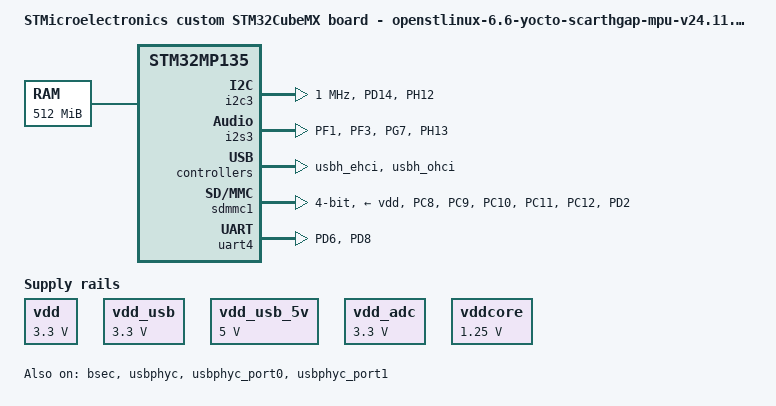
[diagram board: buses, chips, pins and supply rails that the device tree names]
// SPDX-License-Identifier: (GPL-2.0-or-later OR BSD-3-Clause)
/*
 * Copyright (C) 2026, STMicroelectronics - All Rights Reserved
 * Author: STM32CubeMX code generation for STMicroelectronics.
 */

/* For more information on Device Tree configuration, please refer to
 * https://wiki.st.com/stm32mpu/wiki/Category:Device_tree_configuration
 */

/dts-v1/;

#include <dt-bindings/pinctrl/stm32-pinfunc.h>
#include "stm32mp135.dtsi"
#include "stm32mp13xf.dtsi"

/* USER CODE BEGIN includes */
#include <dt-bindings/gpio/gpio.h>
#include <dt-bindings/input/input.h>
#include <dt-bindings/leds/common.h>
#include <dt-bindings/pwm/pwm.h>
#include <dt-bindings/rtc/rtc-stm32.h>
/* USER CODE END includes */

/ {
	model = "STMicroelectronics custom STM32CubeMX board - openstlinux-6.6-yocto-scarthgap-mpu-v24.11.06";
	compatible = "st,stm32mp135f-lty-mx", "st,stm32mp135";

	memory@c0000000 {
		device_type = "memory";
		reg = <0xc0000000 0x20000000>;

		/* USER CODE BEGIN memory */
		/* USER CODE END memory */
	};

	reserved-memory {
		#address-cells = <1>;
		#size-cells = <1>;
		ranges;

		/* USER CODE BEGIN reserved-memory */
		optee@de000000 {
			reg = <0xde000000 0x02000000>;
			no-map;
		};
		/* USER CODE END reserved-memory */
	};

	/* USER CODE BEGIN root */
	aliases {
		serial0 = &uart4;
		mmc0 = &sdmmc1;
	};

	chosen {
		stdout-path = "serial0:115200n8";
	};
	
	arm_wdt: watchdog {
		compatible = "arm,smc-wdt";
		arm,smc-id = <0xbc000000>;
		status = "disabled";
	};
	
	vdd: vdd {
		compatible = "regulator-fixed";
		regulator-name = "vdd";
		regulator-min-microvolt = <3300000>;
		regulator-max-microvolt = <3300000>;
		regulator-always-on;
	};

	vdd_usb: vdd_usb {
		compatible = "regulator-fixed";
		regulator-name = "vdd_usb";
		regulator-min-microvolt = <3300000>;
		regulator-max-microvolt = <3300000>;
		regulator-always-on;
	};

	vdd_usb_5v: vdd_usb_5v {
		compatible = "regulator-fixed";
		regulator-name = "vdd_usb_5v";
		regulator-min-microvolt = <5000000>;
		regulator-max-microvolt = <5000000>;
		regulator-always-on;
	};
	
	vdd_adc: vdd_adc {
		compatible = "regulator-fixed";
		regulator-name = "vdd_adc";
		regulator-min-microvolt = <3300000>;
		regulator-max-microvolt = <3300000>;
		regulator-always-on;
	};

	vddcore: vddcore {
		compatible = "regulator-fixed";
		regulator-name = "vddcore";
		regulator-min-microvolt = <1250000>;
		regulator-max-microvolt = <1250000>;
		regulator-always-on;
	};
	
    sound {
        compatible = "simple-audio-card";
        simple-audio-card,name = "pcm5102-audio";
        simple-audio-card,format = "i2s";

        simple-audio-card,cpu {
            sound-dai = <&i2s3>;
        };

        simple-audio-card,codec {
            sound-dai = <&pcm5102>;
        };
    };

    pcm5102: pcm5102 {
        compatible = "ti,pcm5102a";
        #sound-dai-cells = <0>;
    };
    
	/* USER CODE END root */

	clocks{

		/* USER CODE BEGIN clocks */
		/* USER CODE END clocks */
	};

}; /*root*/

&pinctrl {

	i2c3_pins_mx: i2c3_mx-0 {
		pins {
			pinmux = <STM32_PINMUX('D', 14, AF4)>, /* I2C3_SDA */
					 <STM32_PINMUX('H', 12, AF4)>; /* I2C3_SCL */
			bias-pull-up;
			drive-open-drain;
			slew-rate = <1>;
		};
	};

	i2c3_sleep_pins_mx: i2c3_sleep_mx-0 {
		pins {
			pinmux = <STM32_PINMUX('D', 14, ANALOG)>, /* I2C3_SDA */
					 <STM32_PINMUX('H', 12, ANALOG)>; /* I2C3_SCL */
		};
	};

	i2s3_pins_mx: i2s3_mx-0 {
		pins {
			pinmux = <STM32_PINMUX('F', 1, AF5)>, /* I2S3_SDO */
					 <STM32_PINMUX('F', 3, AF6)>, /* I2S3_WS */
					 <STM32_PINMUX('G', 7, AF5)>, /* I2S3_SDI */
					 <STM32_PINMUX('H', 13, AF6)>; /* I2S3_CK */
			bias-disable;
			drive-push-pull;
			slew-rate = <1>;
		};
	};

	i2s3_sleep_pins_mx: i2s3_sleep_mx-0 {
		pins {
			pinmux = <STM32_PINMUX('F', 1, ANALOG)>, /* I2S3_SDO */
					 <STM32_PINMUX('F', 3, ANALOG)>, /* I2S3_WS */
					 <STM32_PINMUX('G', 7, ANALOG)>, /* I2S3_SDI */
					 <STM32_PINMUX('H', 13, ANALOG)>; /* I2S3_CK */
		};
	};

	/* USER CODE BEGIN pinctrl */
	uart4_pins_mx: uart4_mx-0 {
			pins1 {
				pinmux = <STM32_PINMUX('D', 6, AF8)>; /* UART4_TX */
				bias-disable;
				drive-push-pull;
				slew-rate = <0>;
			};
			pins2 {
				pinmux = <STM32_PINMUX('D', 8, AF8)>; /* UART4_RX */
				bias-disable;
			};
		};
		
		uart4_idle_pins_mx: uart4_idle_mx-0 {
			pins1 {
				pinmux = <STM32_PINMUX('D', 6, AF8)>; /* UART4_TX */
				bias-disable;
				drive-push-pull;
				slew-rate = <0>;
			};
			pins2 {
				pinmux = <STM32_PINMUX('D', 8, AF8)>; /* UART4_RX */
				bias-disable;
			};
		};
		
		uart4_sleep_pins_mx: uart4_sleep_mx-0 {
			pins {
				pinmux = <STM32_PINMUX('D', 6, ANALOG)>, /* UART4_TX */
						 <STM32_PINMUX('D', 8, ANALOG)>; /* UART4_RX */
			};
		};
	
	sdmmc1_pins_mx: sdmmc1_mx-0 {
		pins {
			pinmux = <STM32_PINMUX('C', 8, AF12)>, /* SDMMC1_D0 */
					 <STM32_PINMUX('C', 9, AF12)>, /* SDMMC1_D1 */
					 <STM32_PINMUX('C', 10, AF12)>, /* SDMMC1_D2 */
					 <STM32_PINMUX('C', 11, AF12)>, /* SDMMC1_D3 */
					 <STM32_PINMUX('C', 12, AF12)>, /* SDMMC1_CK */
					 <STM32_PINMUX('D', 2, AF12)>; /* SDMMC1_CMD */
			bias-disable;
			drive-push-pull;
			slew-rate = <1>;
		};
	};
	
	sdmmc1_opendrain_pins_mx: sdmmc1_opendrain_mx-0 {
		pins1 {
			pinmux = <STM32_PINMUX('C', 8, AF12)>, /* SDMMC1_D0 */
					 <STM32_PINMUX('C', 9, AF12)>, /* SDMMC1_D1 */
					 <STM32_PINMUX('C', 10, AF12)>, /* SDMMC1_D2 */
					 <STM32_PINMUX('C', 11, AF12)>, /* SDMMC1_D3 */
					 <STM32_PINMUX('C', 12, AF12)>; /* SDMMC1_CK */
			bias-disable;
			drive-push-pull;
			slew-rate = <1>;
		};
		pins2 {
			pinmux = <STM32_PINMUX('D', 2, AF12)>; /* SDMMC1_CMD */
			bias-disable;
			drive-open-drain;
			slew-rate = <1>;
		};
	};
	
	sdmmc1_sleep_pins_mx: sdmmc1_sleep_mx-0 {
		pins {
			pinmux = <STM32_PINMUX('C', 8, ANALOG)>, /* SDMMC1_D0 */
					 <STM32_PINMUX('C', 9, ANALOG)>, /* SDMMC1_D1 */
					 <STM32_PINMUX('C', 10, ANALOG)>, /* SDMMC1_D2 */
					 <STM32_PINMUX('C', 11, ANALOG)>, /* SDMMC1_D3 */
					 <STM32_PINMUX('C', 12, ANALOG)>, /* SDMMC1_CK */
					 <STM32_PINMUX('D', 2, ANALOG)>; /* SDMMC1_CMD */
		};
	};
	/* USER CODE END pinctrl */
};

&bsec {
	status = "okay";

	/* USER CODE BEGIN bsec */
	/* USER CODE END bsec */
};

&dmamux1 {
	status = "okay";

	/* !!! log : Warning - No dma master found  !!! */

	/* USER CODE BEGIN dmamux1 */
	dma-masters = <&dma1 &dma2>;
	dma-channels = <16>;
	/* USER CODE END dmamux1 */
};

&i2c3 {
	pinctrl-names = "default", "sleep";
	pinctrl-0 = <&i2c3_pins_mx>;
	pinctrl-1 = <&i2c3_sleep_pins_mx>;
	status = "okay";

	/* USER CODE BEGIN i2c3 */
	i2c-scl-rising-time-ns = <96>;
	i2c-scl-falling-time-ns = <3>;
	clock-frequency = <1000000>;
	/delete-property/ dmas;
	/delete-property/ dma-names;
	/* USER CODE END i2c3 */
};

&i2s3 {
	pinctrl-names = "default", "sleep";
	pinctrl-0 = <&i2s3_pins_mx>;
	pinctrl-1 = <&i2s3_sleep_pins_mx>;
	status = "okay";

	/* USER CODE BEGIN i2s3 */
	#sound-dai-cells = <0>;

    clocks = <&rcc SPI3>, <&rcc SPI3_K>, <&rcc CK_MCO1>;
    clock-names = "pclk", "i2sclk", "x8k";
	/* USER CODE END i2s3 */
};

&mdma {
	status = "okay";

	/* USER CODE BEGIN mdma */
	/* USER CODE END mdma */
};

&rcc {
	status = "okay";

	/* USER CODE BEGIN rcc */
	/* USER CODE END rcc */
};

&usbh_ehci {
	status = "okay";

	/* USER CODE BEGIN usbh_ehci */
	/* USER CODE END usbh_ehci */
};

&usbh_ohci {
	status = "okay";

	/* USER CODE BEGIN usbh_ohci */
	/* USER CODE END usbh_ohci */
};

&usbphyc {
	status = "okay";

	/* USER CODE BEGIN usbphyc */
	/* USER CODE END usbphyc */
};

&usbphyc_port0 {
	status = "okay";

	/* USER CODE BEGIN usbphyc_port0 */
	/* USER CODE END usbphyc_port0 */
};

&usbphyc_port1 {
	status = "okay";

	/* USER CODE BEGIN usbphyc_port1 */
	/* USER CODE END usbphyc_port1 */
};

/* USER CODE BEGIN addons */
&arm_wdt {
	timeout-sec = <32>;
	status = "okay";
};

&cpu0 {
	cpu-supply = <&vddcore>;
};

&dma1 {
	status = "okay";
};

&dma2 {
	status = "okay";
};

&rcc {
	status = "okay";
};

&sdmmc1 {
    pinctrl-names = "default", "opendrain", "sleep";
    pinctrl-0 = <&sdmmc1_pins_mx>;
    pinctrl-1 = <&sdmmc1_opendrain_pins_mx>;
    pinctrl-2 = <&sdmmc1_sleep_pins_mx>;

    disable-wp;
    st,neg-edge;
    bus-width = <4>;
    vmmc-supply = <&vdd>;   // yours is fine if regulator exists

    status = "okay";
};

&uart4 {
	pinctrl-names = "default", "idle", "sleep";
	pinctrl-0 = <&uart4_pins_mx>;
	pinctrl-1 = <&uart4_idle_pins_mx>;
	pinctrl-2 = <&uart4_sleep_pins_mx>;
	
	/delete-property/ dmas;
	/delete-property/ dma-names;
	
	status = "okay";
};

/* USER CODE END addons */

